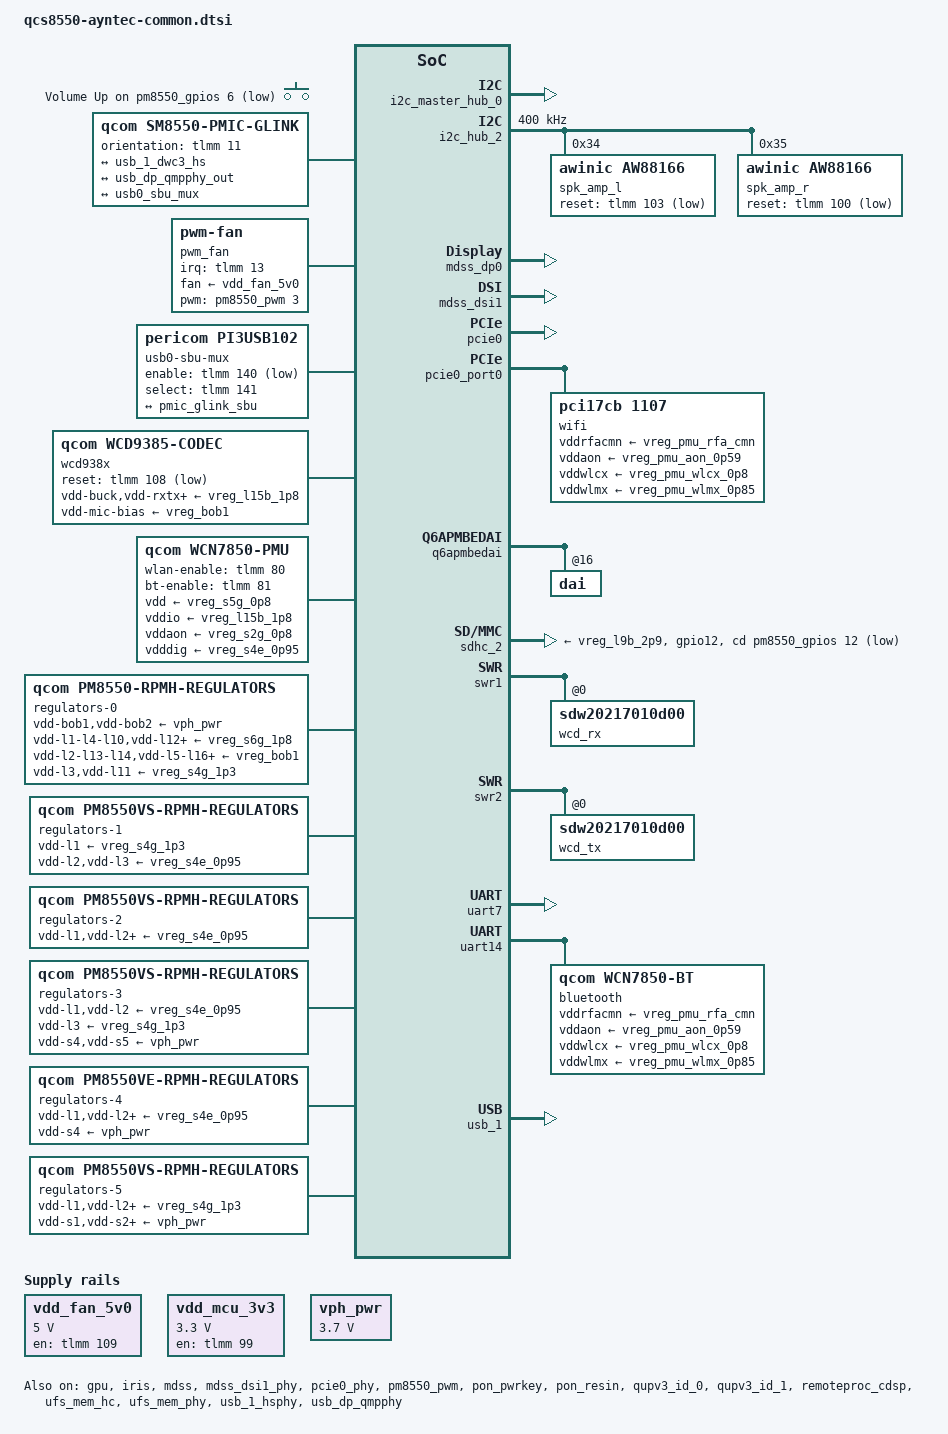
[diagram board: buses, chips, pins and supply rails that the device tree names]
// SPDX-License-Identifier: BSD-3-Clause
/*
 * Copyright (c) 2025, Teguh Sobirin.
 */

#include <dt-bindings/leds/common.h>
#include <dt-bindings/regulator/qcom,rpmh-regulator.h>
#include "qcs8550.dtsi"
#include "pm8550.dtsi"
#include "pm8550b.dtsi"
#define PMK8550VE_SID 5
#include "pm8550ve.dtsi"
#include "pm8550vs.dtsi"
#include "pmk8550.dtsi"

/delete-node/ &aop_image_mem;
/delete-node/ &aop_config_mem;
/delete-node/ &camera_mem;
/delete-node/ &ipa;
/delete-node/ &ipa_fw_mem;
/delete-node/ &ipa_gsi_mem;
/delete-node/ &mpss_dsm_mem;
/delete-node/ &mpss_mem;
/delete-node/ &q6_mpss_dtb_mem;
/delete-node/ &remoteproc_mpss;

/ {
	chassis-type = "handset";

	aliases {
		serial0 = &uart7;
		serial1 = &uart14;
	};

	/* The tzlog label is required by ABL to apply a dtbo, but it can be on any node */
	qcom_tzlog: chosen {
		stdout-path = "serial0:115200n8";
	};

	gpio_keys: gpio-keys {
		compatible = "gpio-keys";

		pinctrl-0 = <&volume_up_n>;
		pinctrl-names = "default";

		key-volume-up {
			label = "Volume Up";
			debounce-interval = <15>;
			gpios = <&pm8550_gpios 6 GPIO_ACTIVE_LOW>;
			linux,code = <KEY_VOLUMEUP>;
			linux,can-disable;
			wakeup-source;
		};
	};

	pmic-glink {
		compatible = "qcom,sm8550-pmic-glink", "qcom,pmic-glink";
		#address-cells = <1>;
		#size-cells = <0>;
		orientation-gpios = <&tlmm 11 GPIO_ACTIVE_HIGH>;

		connector@0 {
			compatible = "usb-c-connector";
			reg = <0>;
			power-role = "dual";
			data-role = "dual";

			ports {
				#address-cells = <1>;
				#size-cells = <0>;

				port@0 {
					reg = <0>;

					pmic_glink_hs_in: endpoint {
						remote-endpoint = <&usb_1_dwc3_hs>;
					};
				};

				port@1 {
					reg = <1>;

					pmic_glink_ss_in: endpoint {
						remote-endpoint = <&usb_dp_qmpphy_out>;
					};
				};

				port@2 {
					reg = <2>;

					pmic_glink_sbu: endpoint {
						remote-endpoint = <&usb0_sbu_mux>;
					};
				};
			};
		};
	};

	pwm_fan: pwm-fan {
		compatible = "pwm-fan";

		fan-supply = <&vdd_fan_5v0>;
		pwms = <&pm8550_pwm 3 50000>;

		pinctrl-0 = <&fan_pwm_active>, <&fan_int>;
		pinctrl-names = "default";

		pulses-per-revolution = <4>;
		interrupts-extended = <&tlmm 13 IRQ_TYPE_EDGE_FALLING>;

		cooling-levels = <0 40 65 75 90 100 120 150 175>;
		#cooling-cells = <2>;
	};

	reserved-memory {
		hyp_mem: hyp-region@80000000 {
			reg = <0 0x80000000 0 0xa00000>;
			no-map;
		};

		cpusys_vm_mem: cpusys-vm-region@80a00000 {
			reg = <0 0x80a00000 0 0x400000>;
			no-map;
		};

		hyp_tags_mem: hyp-tags-region@80e00000 {
			reg = <0 0x80e00000 0 0x3d0000>;
			no-map;
		};

		xbl_sc_mem: xbl-sc-region@d8100000 {
			reg = <0 0xd8100000 0 0x40000>;
			no-map;
		};

		hyp_tags_reserved_mem: hyp-tags-reserved-region@811d0000 {
			reg = <0 0x811d0000 0 0x30000>;
			no-map;
		};

		xbl_dt_log_merged_mem: xbl-dt-log-merged-region@81a00000 {
			reg = <0 0x81a00000 0 0x260000>;
			no-map;
		};

		aop_config_merged_mem: aop-config-merged-region@81c80000 {
			reg = <0 0x81c80000 0 0x74000>;
			no-map;
		};

		chipinfo_mem: chipinfo-region@81cf4000 {
			reg = <0 0x81cf4000 0 0x1000>;
			no-map;
		};

		global_sync_mem: global-sync-region@82600000 {
			reg = <0 0x82600000 0 0x100000>;
			no-map;
		};

		tz_stat_mem: tz-stat-region@82700000 {
			reg = <0 0x82700000 0 0x100000>;
			no-map;
		};

		cpucp_fw_mem: cpucp-fw-region@d8140000 {
			reg = <0 0xd8140000 0 0x1c0000>;
			no-map;
		};

		qtee_mem: qtee-region@d8300000 {
			reg = <0 0xd8300000 0 0x500000>;
			no-map;
		};

		hwfence_shbuf: hwfence-shbuf-region@e6440000 {
			reg = <0 0xe6440000 0 0x2dd000>;
			no-map;
		};

		hyp_ext_reserved_mem: hyp-ext-reserved-region@ff700000 {
			reg = <0 0xff700000 0 0x100000>;
			no-map;
		};

		llcc_lpi_mem: llcc_lpi_region@ff800000 {
			reg = <0 0xff800000 0 0x600000>;
			no-map;
		};

		hyp_ext_tags_mem: hyp-ext-tags-region@fce00000 {
			reg = <0 0xfce00000 0 0x2900000>;
			no-map;
		};
	};

	sound {
		compatible = "qcom,sm8550-sndcard", "qcom,sm8450-sndcard";
		pinctrl-0 = <&i2s0_default_state>, <&audio_mclk0_default_state>, <&lpi_i2s3_active>;
		pinctrl-names = "default";

		model = "AYN-Odin2";
		audio-routing = "IN1_HPHL", "HPHL_OUT",
				"IN2_HPHR", "HPHR_OUT",
				"AMIC2", "MIC BIAS2",
				"TX SWR_INPUT1", "ADC2_OUTPUT";

		speaker-i2s-dai-link {
			link-name = "Primary MI2S Playback";

			codec {
				sound-dai = <&spk_amp_l>, <&spk_amp_r>;
			};

			cpu {
				sound-dai = <&q6apmbedai PRIMARY_MI2S_RX>;
			};

			platform {
				sound-dai = <&q6apm>;
			};
		};

		wcd-playback-dai-link {
			link-name = "WCD Playback";

			codec {
				sound-dai = <&wcd938x 0>, <&swr1 0>, <&lpass_rxmacro 0>;
			};

			cpu {
				sound-dai = <&q6apmbedai RX_CODEC_DMA_RX_0>;
			};

			platform {
				sound-dai = <&q6apm>;
			};
		};

		wcd-capture-dai-link {
			link-name = "WCD Capture";

			codec {
				sound-dai = <&wcd938x 1>, <&swr2 0>, <&lpass_txmacro 0>;
			};

			cpu {
				sound-dai = <&q6apmbedai TX_CODEC_DMA_TX_3>;
			};

			platform {
				sound-dai = <&q6apm>;
			};
		};

		dp0-dai-link {
			link-name = "DP0 Playback";

			codec {
				sound-dai = <&mdss_dp0>;
			};

			cpu {
				sound-dai = <&q6apmbedai DISPLAY_PORT_RX_0>;
			};

			platform {
				sound-dai = <&q6apm>;
			};
		};
	};

	thermal-zones {
		cpu0-thermal {
			polling-delay = <200>;

			trips {
				cpuss0_active0: cpu-active0 {
					temperature = <50000>;
					hysteresis = <4000>;
					type = "active";
				};

				cpuss0_active1: cpu-active1 {
					temperature = <55000>;
					hysteresis = <4000>;
					type = "active";
				};

				cpuss0_active2: cpu-active2 {
					temperature = <60000>;
					hysteresis = <4000>;
					type = "active";
				};

				cpuss0_active3: cpu-active3 {
					temperature = <65000>;
					hysteresis = <4000>;
					type = "active";
				};

				cpuss0_active4: cpu-active4 {
					temperature = <70000>;
					hysteresis = <4000>;
					type = "active";
				};

				cpuss0_active5: cpu-active5 {
					temperature = <75000>;
					hysteresis = <4000>;
					type = "active";
				};

				cpuss0_active6: cpu-active6 {
					temperature = <80000>;
					hysteresis = <4000>;
					type = "active";
				};

				cpuss0_active7: cpu-active7 {
					temperature = <85000>;
					hysteresis = <4000>;
					type = "active";
				};
			};

			cooling-maps {
				map0 {
					cooling-device = <&pwm_fan 0 1>;
					trip = <&cpuss0_active0>;
				};

				map1 {
					cooling-device = <&pwm_fan 1 2>;
					trip = <&cpuss0_active1>;
				};

				map2 {
					cooling-device = <&pwm_fan 2 3>;
					trip = <&cpuss0_active2>;
				};

				map3 {
					cooling-device = <&pwm_fan 3 4>;
					trip = <&cpuss0_active3>;
				};

				map4 {
					cooling-device = <&pwm_fan 4 5>;
					trip = <&cpuss0_active4>;
				};

				map5 {
					cooling-device = <&pwm_fan 5 6>;
					trip = <&cpuss0_active5>;
				};

				map6 {
					cooling-device = <&pwm_fan 6 7>;
					trip = <&cpuss0_active6>;
				};

				map7 {
					cooling-device = <&pwm_fan 7 8>;
					trip = <&cpuss0_active7>;
				};
			};
		};

		cpu3-bottom-thermal {
			polling-delay = <200>;

			trips {
				cpuss3_active0: cpu-active0 {
					temperature = <50000>;
					hysteresis = <4000>;
					type = "active";
				};

				cpuss3_active1: cpu-active1 {
					temperature = <55000>;
					hysteresis = <4000>;
					type = "active";
				};

				cpuss3_active2: cpu-active2 {
					temperature = <60000>;
					hysteresis = <4000>;
					type = "active";
				};

				cpuss3_active3: cpu-active3 {
					temperature = <65000>;
					hysteresis = <4000>;
					type = "active";
				};

				cpuss3_active4: cpu-active4 {
					temperature = <70000>;
					hysteresis = <4000>;
					type = "active";
				};

				cpuss3_active5: cpu-active5 {
					temperature = <75000>;
					hysteresis = <4000>;
					type = "active";
				};

				cpuss3_active6: cpu-active6 {
					temperature = <80000>;
					hysteresis = <4000>;
					type = "active";
				};

				cpuss3_active7: cpu-active7 {
					temperature = <85000>;
					hysteresis = <4000>;
					type = "active";
				};
			};

			cooling-maps {
				map0 {
					cooling-device = <&pwm_fan 0 1>;
					trip = <&cpuss3_active0>;
				};

				map1 {
					cooling-device = <&pwm_fan 1 2>;
					trip = <&cpuss3_active1>;
				};

				map2 {
					cooling-device = <&pwm_fan 2 3>;
					trip = <&cpuss3_active2>;
				};

				map3 {
					cooling-device = <&pwm_fan 3 4>;
					trip = <&cpuss3_active3>;
				};

				map4 {
					cooling-device = <&pwm_fan 4 5>;
					trip = <&cpuss3_active4>;
				};

				map5 {
					cooling-device = <&pwm_fan 5 6>;
					trip = <&cpuss3_active5>;
				};

				map6 {
					cooling-device = <&pwm_fan 6 7>;
					trip = <&cpuss3_active6>;
				};

				map7 {
					cooling-device = <&pwm_fan 7 8>;
					trip = <&cpuss3_active7>;
				};
			};
		};

		cpu7-bottom-thermal {
			polling-delay = <200>;

			trips {
				cpuss7_active0: cpu-active0 {
					temperature = <50000>;
					hysteresis = <4000>;
					type = "active";
				};

				cpuss7_active1: cpu-active1 {
					temperature = <55000>;
					hysteresis = <4000>;
					type = "active";
				};

				cpuss7_active2: cpu-active2 {
					temperature = <60000>;
					hysteresis = <4000>;
					type = "active";
				};

				cpuss7_active3: cpu-active3 {
					temperature = <65000>;
					hysteresis = <4000>;
					type = "active";
				};

				cpuss7_active4: cpu-active4 {
					temperature = <70000>;
					hysteresis = <4000>;
					type = "active";
				};

				cpuss7_active5: cpu-active5 {
					temperature = <75000>;
					hysteresis = <4000>;
					type = "active";
				};

				cpuss7_active6: cpu-active6 {
					temperature = <80000>;
					hysteresis = <4000>;
					type = "active";
				};

				cpuss7_active7: cpu-active7 {
					temperature = <85000>;
					hysteresis = <4000>;
					type = "active";
				};
			};

			cooling-maps {
				map0 {
					cooling-device = <&pwm_fan 0 1>;
					trip = <&cpuss7_active0>;
				};

				map1 {
					cooling-device = <&pwm_fan 1 2>;
					trip = <&cpuss7_active1>;
				};

				map2 {
					cooling-device = <&pwm_fan 2 3>;
					trip = <&cpuss7_active2>;
				};

				map3 {
					cooling-device = <&pwm_fan 3 4>;
					trip = <&cpuss7_active3>;
				};

				map4 {
					cooling-device = <&pwm_fan 4 5>;
					trip = <&cpuss7_active4>;
				};

				map5 {
					cooling-device = <&pwm_fan 5 6>;
					trip = <&cpuss7_active5>;
				};

				map6 {
					cooling-device = <&pwm_fan 6 7>;
					trip = <&cpuss7_active6>;
				};

				map7 {
					cooling-device = <&pwm_fan 7 8>;
					trip = <&cpuss7_active7>;
				};
			};
		};

		gpuss-0-thermal {
			polling-delay = <200>;

			trips {
				gpuss0_active0: gpu-active0 {
					temperature = <50000>;
					hysteresis = <4000>;
					type = "active";
				};

				gpuss0_active1: gpu-active1 {
					temperature = <55000>;
					hysteresis = <4000>;
					type = "active";
				};

				gpuss0_active2: gpu-active2 {
					temperature = <60000>;
					hysteresis = <4000>;
					type = "active";
				};

				gpuss0_active3: gpu-active3 {
					temperature = <65000>;
					hysteresis = <4000>;
					type = "active";
				};

				gpuss0_active4: gpu-active4 {
					temperature = <70000>;
					hysteresis = <4000>;
					type = "active";
				};

				gpuss0_active5: gpu-active5 {
					temperature = <75000>;
					hysteresis = <4000>;
					type = "active";
				};

				gpuss0_active6: gpu-active6 {
					temperature = <80000>;
					hysteresis = <4000>;
					type = "active";
				};

				gpuss0_active7: gpu-active7 {
					temperature = <85000>;
					hysteresis = <4000>;
					type = "active";
				};
			};

			cooling-maps {
				map0 {
					cooling-device = <&pwm_fan 0 1>;
					trip = <&gpuss0_active0>;
				};

				map1 {
					cooling-device = <&pwm_fan 1 2>;
					trip = <&gpuss0_active1>;
				};

				map2 {
					cooling-device = <&pwm_fan 2 3>;
					trip = <&gpuss0_active2>;
				};

				map3 {
					cooling-device = <&pwm_fan 3 4>;
					trip = <&gpuss0_active3>;
				};

				map4 {
					cooling-device = <&pwm_fan 4 5>;
					trip = <&gpuss0_active4>;
				};

				map5 {
					cooling-device = <&pwm_fan 5 6>;
					trip = <&gpuss0_active5>;
				};

				map6 {
					cooling-device = <&pwm_fan 6 7>;
					trip = <&gpuss0_active6>;
				};

				map7 {
					cooling-device = <&pwm_fan 7 8>;
					trip = <&gpuss0_active7>;
				};
			};
		};
	};

	usb0-sbu-mux {
		compatible = "pericom,pi3usb102", "gpio-sbu-mux";

		enable-gpios = <&tlmm 140 GPIO_ACTIVE_LOW>;
		select-gpios = <&tlmm 141 GPIO_ACTIVE_HIGH>;

		pinctrl-0 = <&usb0_sbu_default>;
		pinctrl-names = "default";

		mode-switch;
		orientation-switch;

		port {
			usb0_sbu_mux: endpoint {
				remote-endpoint = <&pmic_glink_sbu>;
			};
		};
	};

	vdd_fan_5v0: vdd-fan-5v0-regulator {
		compatible = "regulator-fixed";
		regulator-name = "vdd_fan_5v0";

		regulator-min-microvolt = <5000000>;
		regulator-max-microvolt = <5000000>;

		gpio = <&tlmm 109 GPIO_ACTIVE_HIGH>;
		enable-active-high;

		pinctrl-0 = <&fan_pwr_active>;
		pinctrl-names = "default";

		regulator-state-mem {
			regulator-off-in-suspend;
		};
	};

	vdd_mcu_3v3: vdd-mcu-3v3-regulator {
		compatible = "regulator-fixed";
		regulator-name = "vdd_mcu_3v3";

		regulator-min-microvolt = <3300000>;
		regulator-max-microvolt = <3300000>;

		gpio = <&tlmm 99 GPIO_ACTIVE_HIGH>;
		regulator-always-on;
		regulator-boot-on;
		enable-active-high;
	};

	vph_pwr: regulator-vph-pwr {
		compatible = "regulator-fixed";
		regulator-name = "vph_pwr";
		regulator-min-microvolt = <3700000>;
		regulator-max-microvolt = <3700000>;

		regulator-always-on;
		regulator-boot-on;
	};

	wcd938x: audio-codec {
		compatible = "qcom,wcd9385-codec";

		pinctrl-0 = <&wcd_default>;
		pinctrl-names = "default";

		qcom,micbias1-microvolt = <1800000>;
		qcom,micbias2-microvolt = <1800000>;
		qcom,micbias3-microvolt = <1800000>;
		qcom,micbias4-microvolt = <1800000>;
		qcom,mbhc-buttons-vthreshold-microvolt = <75000 150000 237000 500000
							 500000 500000 500000 500000>;
		qcom,mbhc-headset-vthreshold-microvolt = <1700000>;
		qcom,mbhc-headphone-vthreshold-microvolt = <50000>;
		qcom,rx-device = <&wcd_rx>;
		qcom,tx-device = <&wcd_tx>;

		reset-gpios = <&tlmm 108 GPIO_ACTIVE_LOW>;

		vdd-buck-supply = <&vreg_l15b_1p8>;
		vdd-rxtx-supply = <&vreg_l15b_1p8>;
		vdd-io-supply = <&vreg_l15b_1p8>;
		vdd-mic-bias-supply = <&vreg_bob1>;

		#sound-dai-cells = <1>;
	};

	wcn7850-pmu {
		compatible = "qcom,wcn7850-pmu";

		pinctrl-0 = <&wlan_en>, <&bt_default>, <&pmk8550_sleep_clk>;
		pinctrl-names = "default";

		wlan-enable-gpios = <&tlmm 80 GPIO_ACTIVE_HIGH>;
		bt-enable-gpios = <&tlmm 81 GPIO_ACTIVE_HIGH>;

		vdd-supply = <&vreg_s5g_0p8>;
		vddio-supply = <&vreg_l15b_1p8>;
		vddaon-supply = <&vreg_s2g_0p8>;
		vdddig-supply = <&vreg_s4e_0p95>;
		vddrfa1p2-supply = <&vreg_s4g_1p3>;
		vddrfa1p8-supply = <&vreg_s6g_1p8>;

		regulators {
			vreg_pmu_rfa_cmn: ldo0 {
				regulator-name = "vreg_pmu_rfa_cmn";
			};

			vreg_pmu_aon_0p59: ldo1 {
				regulator-name = "vreg_pmu_aon_0p59";
			};

			vreg_pmu_wlcx_0p8: ldo2 {
				regulator-name = "vreg_pmu_wlcx_0p8";
			};

			vreg_pmu_wlmx_0p85: ldo3 {
				regulator-name = "vreg_pmu_wlmx_0p85";
			};

			vreg_pmu_btcmx_0p85: ldo4 {
				regulator-name = "vreg_pmu_btcmx_0p85";
			};

			vreg_pmu_rfa_0p8: ldo5 {
				regulator-name = "vreg_pmu_rfa_0p8";
			};

			vreg_pmu_rfa_1p2: ldo6 {
				regulator-name = "vreg_pmu_rfa_1p2";
			};

			vreg_pmu_rfa_1p8: ldo7 {
				regulator-name = "vreg_pmu_rfa_1p8";
			};

			vreg_pmu_pcie_0p9: ldo8 {
				regulator-name = "vreg_pmu_pcie_0p9";
			};

			vreg_pmu_pcie_1p8: ldo9 {
				regulator-name = "vreg_pmu_pcie_1p8";
			};
		};
	};

	/* The arch_timer label is unused here, but is required by ABL to apply a dtbo */
	arch_timer: timer { };
};

&apps_rsc {
	regulators-0 {
		compatible = "qcom,pm8550-rpmh-regulators";
		qcom,pmic-id = "b";

		vdd-bob1-supply = <&vph_pwr>;
		vdd-bob2-supply = <&vph_pwr>;
		vdd-l1-l4-l10-supply = <&vreg_s6g_1p8>;
		vdd-l2-l13-l14-supply = <&vreg_bob1>;
		vdd-l3-supply = <&vreg_s4g_1p3>;
		vdd-l5-l16-supply = <&vreg_bob1>;
		vdd-l6-l7-supply = <&vreg_bob1>;
		vdd-l8-l9-supply = <&vreg_bob1>;
		vdd-l11-supply = <&vreg_s4g_1p3>;
		vdd-l12-supply = <&vreg_s6g_1p8>;
		vdd-l15-supply = <&vreg_s6g_1p8>;
		vdd-l17-supply = <&vreg_bob2>;

		vreg_bob1: bob1 {
			regulator-name = "vreg_bob1";
			regulator-min-microvolt = <3296000>;
			regulator-max-microvolt = <3960000>;
			regulator-initial-mode = <RPMH_REGULATOR_MODE_HPM>;
		};

		vreg_bob2: bob2 {
			regulator-name = "vreg_bob2";
			regulator-min-microvolt = <2720000>;
			regulator-max-microvolt = <3960000>;
			regulator-initial-mode = <RPMH_REGULATOR_MODE_HPM>;
		};

		vreg_l2b_3p0: ldo2 {
			regulator-name = "vreg_l2b_3p0";
			regulator-min-microvolt = <3008000>;
			regulator-max-microvolt = <3008000>;
			regulator-initial-mode = <RPMH_REGULATOR_MODE_HPM>;
			regulator-allow-set-load;
			regulator-allowed-modes = <RPMH_REGULATOR_MODE_LPM
						   RPMH_REGULATOR_MODE_HPM>;
		};

		vreg_l5b_3p1: ldo5 {
			regulator-name = "vreg_l5b_3p1";
			regulator-min-microvolt = <3104000>;
			regulator-max-microvolt = <3104000>;
			regulator-initial-mode = <RPMH_REGULATOR_MODE_HPM>;
			regulator-allow-set-load;
			regulator-allowed-modes = <RPMH_REGULATOR_MODE_LPM
						   RPMH_REGULATOR_MODE_HPM>;
		};

		vreg_l6b_1p8: ldo6 {
			regulator-name = "vreg_l6b_1p8";
			regulator-min-microvolt = <1800000>;
			regulator-max-microvolt = <3008000>;
			regulator-initial-mode = <RPMH_REGULATOR_MODE_HPM>;
			regulator-allow-set-load;
			regulator-allowed-modes = <RPMH_REGULATOR_MODE_LPM
						   RPMH_REGULATOR_MODE_HPM>;
		};

		vreg_l7b_1p8: ldo7 {
			regulator-name = "vreg_l7b_1p8";
			regulator-min-microvolt = <1800000>;
			regulator-max-microvolt = <3008000>;
			regulator-initial-mode = <RPMH_REGULATOR_MODE_HPM>;
		};

		vreg_l8b_1p8: ldo8 {
			regulator-name = "vreg_l8b_1p8";
			regulator-min-microvolt = <1800000>;
			regulator-max-microvolt = <3008000>;
			regulator-initial-mode = <RPMH_REGULATOR_MODE_HPM>;
			regulator-allow-set-load;
			regulator-allowed-modes = <RPMH_REGULATOR_MODE_LPM
						   RPMH_REGULATOR_MODE_HPM>;
		};

		vreg_l9b_2p9: ldo9 {
			regulator-name = "vreg_l9b_2p9";
			regulator-min-microvolt = <2960000>;
			regulator-max-microvolt = <3008000>;
			regulator-initial-mode = <RPMH_REGULATOR_MODE_HPM>;
			regulator-allow-set-load;
			regulator-allowed-modes = <RPMH_REGULATOR_MODE_LPM
						   RPMH_REGULATOR_MODE_HPM>;
		};

		vreg_l11b_1p2: ldo11 {
			regulator-name = "vreg_l11b_1p2";
			regulator-min-microvolt = <1200000>;
			regulator-max-microvolt = <1504000>;
			regulator-initial-mode = <RPMH_REGULATOR_MODE_HPM>;
			regulator-allow-set-load;
			regulator-allowed-modes = <RPMH_REGULATOR_MODE_LPM
						   RPMH_REGULATOR_MODE_HPM>;
		};

		vreg_l12b_1p8: ldo12 {
			regulator-name = "vreg_l12b_1p8";
			regulator-min-microvolt = <1800000>;
			regulator-max-microvolt = <1800000>;
			regulator-initial-mode = <RPMH_REGULATOR_MODE_HPM>;
			regulator-allow-set-load;
			regulator-allowed-modes = <RPMH_REGULATOR_MODE_LPM
						   RPMH_REGULATOR_MODE_HPM>;
		};

		vreg_l13b_3p0: ldo13 {
			regulator-name = "vreg_l13b_3p0";
			regulator-min-microvolt = <3000000>;
			regulator-max-microvolt = <3000000>;
			regulator-initial-mode = <RPMH_REGULATOR_MODE_HPM>;
			regulator-allow-set-load;
			regulator-allowed-modes = <RPMH_REGULATOR_MODE_LPM
						   RPMH_REGULATOR_MODE_HPM>;
		};

		vreg_l14b_3p2: ldo14 {
			regulator-name = "vreg_l14b_3p2";
			regulator-min-microvolt = <3200000>;
			regulator-max-microvolt = <3200000>;
			regulator-initial-mode = <RPMH_REGULATOR_MODE_HPM>;
			regulator-allow-set-load;
			regulator-allowed-modes = <RPMH_REGULATOR_MODE_LPM
						   RPMH_REGULATOR_MODE_HPM>;
		};

		vreg_l15b_1p8: ldo15 {
			regulator-name = "vreg_l15b_1p8";
			regulator-min-microvolt = <1800000>;
			regulator-max-microvolt = <1800000>;
			regulator-initial-mode = <RPMH_REGULATOR_MODE_HPM>;
			regulator-allow-set-load;
			regulator-allowed-modes = <RPMH_REGULATOR_MODE_LPM
						   RPMH_REGULATOR_MODE_HPM>;
		};

		vreg_l16b_2p8: ldo16 {
			regulator-name = "vreg_l16b_2p8";
			regulator-min-microvolt = <2800000>;
			regulator-max-microvolt = <2800000>;
			regulator-initial-mode = <RPMH_REGULATOR_MODE_HPM>;
			regulator-allow-set-load;
			regulator-allowed-modes = <RPMH_REGULATOR_MODE_LPM
						   RPMH_REGULATOR_MODE_HPM>;
		};

		vreg_l17b_2p5: ldo17 {
			regulator-name = "vreg_l17b_2p5";
			regulator-min-microvolt = <2504000>;
			regulator-max-microvolt = <2504000>;
			regulator-initial-mode = <RPMH_REGULATOR_MODE_HPM>;
			regulator-allow-set-load;
			regulator-allowed-modes = <RPMH_REGULATOR_MODE_LPM
						   RPMH_REGULATOR_MODE_HPM>;
		};
	};

	regulators-1 {
		compatible = "qcom,pm8550vs-rpmh-regulators";
		qcom,pmic-id = "c";

		vdd-l1-supply = <&vreg_s4g_1p3>;
		vdd-l2-supply = <&vreg_s4e_0p95>;
		vdd-l3-supply = <&vreg_s4e_0p95>;

		vreg_l3c_0p9: ldo3 {
			regulator-name = "vreg_l3c_0p9";
			regulator-min-microvolt = <880000>;
			regulator-max-microvolt = <912000>;
			regulator-initial-mode = <RPMH_REGULATOR_MODE_HPM>;
			regulator-allow-set-load;
			regulator-allowed-modes = <RPMH_REGULATOR_MODE_LPM
						   RPMH_REGULATOR_MODE_HPM>;
		};
	};

	regulators-2 {
		compatible = "qcom,pm8550vs-rpmh-regulators";
		qcom,pmic-id = "d";

		vdd-l1-supply = <&vreg_s4e_0p95>;
		vdd-l2-supply = <&vreg_s4e_0p95>;
		vdd-l3-supply = <&vreg_s4e_0p95>;

		vreg_l1d_0p88: ldo1 {
			regulator-name = "vreg_l1d_0p88";
			regulator-min-microvolt = <880000>;
			regulator-max-microvolt = <920000>;
			regulator-initial-mode = <RPMH_REGULATOR_MODE_HPM>;
			regulator-allow-set-load;
			regulator-allowed-modes = <RPMH_REGULATOR_MODE_LPM
						   RPMH_REGULATOR_MODE_HPM>;
		};
	};

	regulators-3 {
		compatible = "qcom,pm8550vs-rpmh-regulators";
		qcom,pmic-id = "e";

		vdd-l1-supply = <&vreg_s4e_0p95>;
		vdd-l2-supply = <&vreg_s4e_0p95>;
		vdd-l3-supply = <&vreg_s4g_1p3>;
		vdd-s4-supply = <&vph_pwr>;
		vdd-s5-supply = <&vph_pwr>;

		vreg_s4e_0p95: smps4 {
			regulator-name = "vreg_s4e_0p95";
			regulator-min-microvolt = <904000>;
			regulator-max-microvolt = <984000>;
			regulator-initial-mode = <RPMH_REGULATOR_MODE_HPM>;
		};

		vreg_s5e_1p08: smps5 {
			regulator-name = "vreg_s5e_1p08";
			regulator-min-microvolt = <1010000>;
			regulator-max-microvolt = <1120000>;
			regulator-initial-mode = <RPMH_REGULATOR_MODE_HPM>;
		};

		vreg_l1e_0p88: ldo1 {
			regulator-name = "vreg_l1e_0p88";
			regulator-min-microvolt = <880000>;
			regulator-max-microvolt = <912000>;
			regulator-initial-mode = <RPMH_REGULATOR_MODE_HPM>;
			regulator-allow-set-load;
			regulator-allowed-modes = <RPMH_REGULATOR_MODE_LPM
						   RPMH_REGULATOR_MODE_HPM>;
		};

		vreg_l2e_0p9: ldo2 {
			regulator-name = "vreg_l2e_0p9";
			regulator-min-microvolt = <870000>;
			regulator-max-microvolt = <970000>;
			regulator-initial-mode = <RPMH_REGULATOR_MODE_HPM>;
			regulator-allow-set-load;
			regulator-allowed-modes = <RPMH_REGULATOR_MODE_LPM
						   RPMH_REGULATOR_MODE_HPM>;
		};

		vreg_l3e_1p2: ldo3 {
			regulator-name = "vreg_l3e_1p2";
			regulator-min-microvolt = <1200000>;
			regulator-max-microvolt = <1200000>;
			regulator-initial-mode = <RPMH_REGULATOR_MODE_HPM>;
			regulator-allow-set-load;
			regulator-allowed-modes = <RPMH_REGULATOR_MODE_LPM
						   RPMH_REGULATOR_MODE_HPM>;
		};
	};

	regulators-4 {
		compatible = "qcom,pm8550ve-rpmh-regulators";
		qcom,pmic-id = "f";

		vdd-l1-supply = <&vreg_s4e_0p95>;
		vdd-l2-supply = <&vreg_s4e_0p95>;
		vdd-l3-supply = <&vreg_s4e_0p95>;
		vdd-s4-supply = <&vph_pwr>;

		vreg_s4f_0p5: smps4 {
			regulator-name = "vreg_s4f_0p5";
			regulator-min-microvolt = <300000>;
			regulator-max-microvolt = <700000>;
			regulator-initial-mode = <RPMH_REGULATOR_MODE_HPM>;
		};

		vreg_l1f_0p9: ldo1 {
			regulator-name = "vreg_l1f_0p9";
			regulator-min-microvolt = <880000>;
			regulator-max-microvolt = <912000>;
			regulator-initial-mode = <RPMH_REGULATOR_MODE_HPM>;
			regulator-allow-set-load;
			regulator-allowed-modes = <RPMH_REGULATOR_MODE_LPM
						   RPMH_REGULATOR_MODE_HPM>;
		};

		vreg_l2f_0p88: ldo2 {
			regulator-name = "vreg_l2f_0p88";
			regulator-min-microvolt = <880000>;
			regulator-max-microvolt = <912000>;
			regulator-initial-mode = <RPMH_REGULATOR_MODE_HPM>;
			regulator-allow-set-load;
			regulator-allowed-modes = <RPMH_REGULATOR_MODE_LPM
						   RPMH_REGULATOR_MODE_HPM>;
		};

		vreg_l3f_0p88: ldo3 {
			regulator-name = "vreg_l3f_0p88";
			regulator-min-microvolt = <880000>;
			regulator-max-microvolt = <912000>;
			regulator-initial-mode = <RPMH_REGULATOR_MODE_HPM>;
			regulator-allow-set-load;
			regulator-allowed-modes = <RPMH_REGULATOR_MODE_LPM
						   RPMH_REGULATOR_MODE_HPM>;
		};
	};

	regulators-5 {
		compatible = "qcom,pm8550vs-rpmh-regulators";
		qcom,pmic-id = "g";

		vdd-l1-supply = <&vreg_s4g_1p3>;
		vdd-l2-supply = <&vreg_s4g_1p3>;
		vdd-l3-supply = <&vreg_s4g_1p3>;
		vdd-s1-supply = <&vph_pwr>;
		vdd-s2-supply = <&vph_pwr>;
		vdd-s3-supply = <&vph_pwr>;
		vdd-s4-supply = <&vph_pwr>;
		vdd-s5-supply = <&vph_pwr>;
		vdd-s6-supply = <&vph_pwr>;

		vreg_s1g_1p2: smps1 {
			regulator-name = "vreg_s1g_1p2";
			regulator-min-microvolt = <1200000>;
			regulator-max-microvolt = <1300000>;
			regulator-initial-mode = <RPMH_REGULATOR_MODE_HPM>;
		};

		vreg_s2g_0p8: smps2 {
			regulator-name = "vreg_s2g_0p8";
			regulator-min-microvolt = <800000>;
			regulator-max-microvolt = <1000000>;
			regulator-initial-mode = <RPMH_REGULATOR_MODE_HPM>;
		};

		vreg_s3g_0p7: smps3 {
			regulator-name = "vreg_s3g_0p7";
			regulator-min-microvolt = <300000>;
			regulator-max-microvolt = <1004000>;
			regulator-initial-mode = <RPMH_REGULATOR_MODE_HPM>;
		};

		vreg_s4g_1p3: smps4 {
			regulator-name = "vreg_s4g_1p3";
			regulator-min-microvolt = <1200000>;
			regulator-max-microvolt = <1352000>;
			regulator-initial-mode = <RPMH_REGULATOR_MODE_HPM>;
		};

		vreg_s5g_0p8: smps5 {
			regulator-name = "vreg_s5g_0p8";
			regulator-min-microvolt = <500000>;
			regulator-max-microvolt = <1004000>;
			regulator-initial-mode = <RPMH_REGULATOR_MODE_HPM>;
		};

		vreg_s6g_1p8: smps6 {
			regulator-name = "vreg_s6g_1p8";
			regulator-min-microvolt = <1800000>;
			regulator-max-microvolt = <2000000>;
			regulator-initial-mode = <RPMH_REGULATOR_MODE_HPM>;
		};

		vreg_l1g_1p2: ldo1 {
			regulator-name = "vreg_l1g_1p2";
			regulator-min-microvolt = <1200000>;
			regulator-max-microvolt = <1200000>;
			regulator-initial-mode = <RPMH_REGULATOR_MODE_HPM>;
			regulator-allow-set-load;
			regulator-allowed-modes = <RPMH_REGULATOR_MODE_LPM
						   RPMH_REGULATOR_MODE_HPM>;
		};

		vreg_l3g_1p2: ldo3 {
			regulator-name = "vreg_l3g_1p2";
			regulator-min-microvolt = <1200000>;
			regulator-max-microvolt = <1200000>;
			regulator-initial-mode = <RPMH_REGULATOR_MODE_HPM>;
			regulator-allow-set-load;
			regulator-allowed-modes = <RPMH_REGULATOR_MODE_LPM
						   RPMH_REGULATOR_MODE_HPM>;
		};
	};
};

&gpi_dma1 {
	status = "okay";
};

&gpi_dma2 {
	status = "okay";
};

&gpu {
	status = "okay";
};

&gpu_zap_shader {
	firmware-name = "qcom/sm8550/a740_zap.mbn";
};

&i2c_master_hub_0 {
	status = "okay";
};

&i2c_hub_2 {
	clock-frequency = <400000>;

	status = "okay";

	spk_amp_l: amplifier@34 {
		compatible = "awinic,aw88166";
		reg = <0x34>;
		reset-gpios = <&tlmm 103 GPIO_ACTIVE_LOW>;
		sound-name-prefix = "Amplifier L";

		awinic,audio-channel = <0>;
		awinic,sync-flag;

		#sound-dai-cells = <0>;
	};

	spk_amp_r: amplifier@35 {
		compatible = "awinic,aw88166";
		reg = <0x35>;
		reset-gpios = <&tlmm 100 GPIO_ACTIVE_LOW>;
		sound-name-prefix = "Amplifier R";

		awinic,audio-channel = <1>;
		awinic,sync-flag;

		#sound-dai-cells = <0>;
	};
};

&iris {
	status = "okay";
};

&lpass_tlmm {
	lpi_i2s3_active: lpi_i2s3-active-state {
		sck-pins {
			pins = "gpio12";
			function = "i2s3_clk";
			drive-strength = <8>;
			bias-disable;
			output-high;
		};

		ws-pins {
			pins = "gpio13";
			function = "i2s3_ws";
			drive-strength = <8>;
			bias-disable;
			output-high;
		};

		data0-pins {
			pins = "gpio17";
			function = "i2s3_data";
			drive-strength = <8>;
			bias-disable;
			output-high;
		};

		data1-pins {
			pins = "gpio18";
			function = "i2s3_data";
			drive-strength = <8>;
			bias-disable;
			output-high;
		};
	};
};

&lpass_vamacro {
	qcom,dmic-sample-rate = <4800000>;
};

&lpass_wsamacro {
	status = "disabled";
};

&mdss {
	status = "okay";
};

&mdss_dp0 {
	status = "okay";
};

&mdss_dsi1 {
	vdda-supply = <&vreg_l3e_1p2>;

	status = "okay";

	display_panel: panel@0 {
		reg = <0>;

		port {
			panel1_in: endpoint {
				remote-endpoint = <&mdss_dsi1_out>;
			};
		};
	};
};

&mdss_dsi1_out {
	remote-endpoint = <&panel1_in>;
	data-lanes = <0 1 2 3>;
};

&mdss_dsi1_phy {
	vdds-supply = <&vreg_l1e_0p88>;

	status = "okay";
};

&pcie0 {
	perst-gpios = <&tlmm 94 GPIO_ACTIVE_LOW>;
	wake-gpios = <&tlmm 96 GPIO_ACTIVE_HIGH>;

	pinctrl-0 = <&pcie0_default_state>;
	pinctrl-names = "default";

	status = "okay";
};

&pcie0_port0 {
	wifi@0 {
		compatible = "pci17cb,1107";
		reg = <0x10000 0x0 0x0 0x0 0x0>;

		vddrfacmn-supply = <&vreg_pmu_rfa_cmn>;
		vddaon-supply = <&vreg_pmu_aon_0p59>;
		vddwlcx-supply = <&vreg_pmu_wlcx_0p8>;
		vddwlmx-supply = <&vreg_pmu_wlmx_0p85>;
		vddrfa0p8-supply = <&vreg_pmu_rfa_0p8>;
		vddrfa1p2-supply = <&vreg_pmu_rfa_1p2>;
		vddrfa1p8-supply = <&vreg_pmu_rfa_1p8>;
		vddpcie0p9-supply = <&vreg_pmu_pcie_0p9>;
		vddpcie1p8-supply = <&vreg_pmu_pcie_1p8>;
	};
};

&pcie0_phy {
	vdda-phy-supply = <&vreg_l1e_0p88>;
	vdda-pll-supply = <&vreg_l3e_1p2>;

	status = "okay";
};

&pm8550_gpios {
	fan_pwm_active: fan-pwm-active-state {
		pins = "gpio8";
		function = "func1";
		input-disable;
		output-enable;
		output-low;
		bias-disable;
		power-source = <1>;
	};

	sdc2_card_det_n: sdc2-card-det-n-state {
		pins = "gpio12";
		function = "normal";
		input-enable;
		output-disable;
		bias-pull-up;
		power-source = <1>;
	};

	volume_up_n: volume-up-n-state {
		pins = "gpio6";
		function = "normal";
		power-source = <1>;
		bias-pull-up;
		input-enable;
	};
};

&pm8550_pwm {
	status = "okay";

	pm8550_multi_led: multi-led {
		color = <LED_COLOR_ID_RGB>;
		function = LED_FUNCTION_STATUS;

		#address-cells = <1>;
		#size-cells = <0>;

		led@1 {
			reg = <1>;
			color = <LED_COLOR_ID_RED>;
		};

		led@2 {
			reg = <2>;
			color = <LED_COLOR_ID_GREEN>;
		};

		led@3 {
			reg = <3>;
			color = <LED_COLOR_ID_BLUE>;
		};
	};
};

&pm8550b_eusb2_repeater {
	qcom,tune-usb2-disc-thres = /bits/ 8 <0x6>;
	qcom,tune-usb2-amplitude = /bits/ 8 <0xb>;
	qcom,tune-usb2-preem = /bits/ 8 <0x3>;
	vdd18-supply = <&vreg_l15b_1p8>;
	vdd3-supply = <&vreg_l5b_3p1>;
};

&pmk8550_gpios {
	pmk8550_sleep_clk: sleep-clk-state {
		pins = "gpio3";
		function = "func1";
		input-disable;
		output-enable;
		bias-disable;
		power-source = <0>;
	};

	pwm_backlight_default: pwm-backlight-default-state {
		pins = "gpio5";
		function = "func3";
		input-disable;
		output-low;
		output-enable;
		bias-disable;
		power-source = <0>;
		qcom,drive-strength = <2>;
	};
};

&pmk8550_rtc {
	nvmem-cells = <&rtc_offset>;
	nvmem-cell-names = "offset";
};

&pmk8550_sdam_2 {
	rtc_offset: rtc-offset@bc {
		reg = <0xbc 0x4>;
	};
};

&pon_pwrkey {
	status = "okay";
};

&pon_resin {
	linux,code = <KEY_VOLUMEDOWN>;

	status = "okay";
};

&q6apmbedai {
	#address-cells = <1>;
	#size-cells = <0>;

	dai@16 {
		reg = <PRIMARY_MI2S_RX>;
		clocks = <&q6prmcc LPASS_CLK_ID_PRI_MI2S_IBIT
				   LPASS_CLK_ATTRIBUTE_COUPLE_NO>,
			 <&q6prmcc LPASS_CLK_ID_MCLK_1
				   LPASS_CLK_ATTRIBUTE_COUPLE_NO>;
		clock-names = "bclk", "mclk";
	};
};

&qupv3_id_0 {
	status = "okay";
};

&qupv3_id_1 {
	status = "okay";
};

&remoteproc_cdsp {
	firmware-name = "qcom/sm8550/ayntec/cdsp.mbn",
			"qcom/sm8550/ayntec/cdsp_dtb.mbn";

	status = "okay";
};

&sdhc_2 {
	cd-gpios = <&pm8550_gpios 12 GPIO_ACTIVE_LOW>;
	pinctrl-0 = <&sdc2_default &sdc2_card_det_n>;
	pinctrl-1 = <&sdc2_sleep &sdc2_card_det_n>;
	pinctrl-names = "default", "sleep";
	vmmc-supply = <&vreg_l9b_2p9>;
	vqmmc-supply = <&vreg_l8b_1p8>;
	no-sdio;
	no-mmc;

	status = "okay";
};

&sleep_clk {
	clock-frequency = <32764>;
};

&swr1 {
	status = "okay";

	wcd_rx: codec@0,4 {
		compatible = "sdw20217010d00";
		reg = <0 4>;
		qcom,rx-port-mapping = <1 2 3 4 5>;
	};
};

&swr2 {
	status = "okay";

	wcd_tx: codec@0,3 {
		compatible = "sdw20217010d00";
		reg = <0 3>;
		qcom,tx-port-mapping = <2 2 3 4>;
	};
};

&tlmm {
	gpio-reserved-ranges = <32 8>;

	mcu_en_active: mcu-en-active-state {
		pins = "gpio12";
		function = "gpio";
		bias-pull-down;
	};

	fan_int: fan-int-state {
		pins = "gpio13";
		function = "gpio";
		drive-strength = <2>;
		bias-disable;
	};

	ts_s_rst_default: ts-s-rst-default-state {
		pins = "gpio14";
		function = "gpio";
		bias-pull-up;
		drive-strength = <8>;
	};

	ts_s_rst_sleep: ts-s-rst-sleep-state {
		pins = "gpio14";
		function = "gpio";
		bias-pull-down;
		drive-strength = <2>;
	};

	ts_s_int_default: ts-s-int-default-state {
		pins = "gpio15";
		function = "gpio";
		bias-pull-up;
		drive-strength = <8>;
	};

	ts_s_int_sleep: ts-s-int-sleep-state {
		pins = "gpio15";
		function = "gpio";
		bias-pull-down;
		drive-strength = <2>;
	};

	ts_p_rst_default: ts-p-rst-default-state {
		pins = "gpio24";
		function = "gpio";
		bias-pull-up;
		drive-strength = <8>;
	};

	ts_p_rst_sleep: ts-p-rst-sleep-state {
		pins = "gpio24";
		function = "gpio";
		bias-pull-down;
		drive-strength = <2>;
	};

	ts_p_int_default: ts-p-int-default-state {
		pins = "gpio25";
		function = "gpio";
		bias-pull-up;
		drive-strength = <8>;
	};

	ts_p_int_sleep: ts-p-int-sleep-state {
		pins = "gpio25";
		function = "gpio";
		bias-pull-down;
		drive-strength = <2>;
	};

	wlan_en: wlan-en-state {
		pins = "gpio80";
		function = "gpio";
		drive-strength = <8>;
		bias-pull-down;
	};

	bt_default: bt-default-state {
		bt-en-pins {
			pins = "gpio81";
			function = "gpio";
			drive-strength = <16>;
			bias-disable;
		};

		sw-ctrl-pins {
			pins = "gpio82";
			function = "gpio";
			bias-pull-down;
		};
	};

	dsi_p_te_active: dsi-p-te-active-state {
		pins = "gpio86";
		function = "mdp_vsync";
		drive-strength = <2>;
		bias-pull-down;
	};

	dsi_p_te_suspend: dsi-s-te-suspend-state {
		pins = "gpio86";
		function = "mdp_vsync";
		drive-strength = <2>;
		bias-pull-down;
	};

	dsi_s_te_active: dsi-s-te-active-state {
		pins = "gpio87";
		function = "mdp_vsync";
		drive-strength = <2>;
		bias-pull-down;
	};

	dsi_s_te_suspend: dsi-s-te-suspend-state {
		pins = "gpio87";
		function = "mdp_vsync";
		drive-strength = <2>;
		bias-pull-down;
	};

	wcd_default: wcd-reset-n-active-state {
		pins = "gpio108";
		function = "gpio";
		drive-strength = <16>;
		bias-disable;
	};

	fan_pwr_active: fan-pwr-active-state {
		pins = "gpio109";
		function = "gpio";
		drive-strength = <2>;
		bias-disable;
	};

	audio_mclk0_default_state: audio-mclk0-default-state {
		pins = "gpio125";
		function = "audio_ext_mclk0";
		drive-strength = <8>;
		bias-disable;
		output-high;
	};

	i2s0_default_state: i2s0-default-state {
		sck-pins {
			pins = "gpio126";
			function = "i2s0_sck";
			drive-strength = <8>;
			bias-disable;
			output-high;
		};

		data0-pins {
			pins = "gpio127";
			function = "i2s0_data0";
			drive-strength = <8>;
			bias-disable;
		};

		data1-pins {
			pins = "gpio128";
			function = "i2s0_data1";
			drive-strength = <8>;
			bias-disable;
		};

		ws-pins {
			pins = "gpio129";
			function = "i2s0_ws";
			drive-strength = <8>;
			bias-disable;
			output-high;
		};
	};

	dsi_p_rst_active: dsi-p-rst-active-state {
		pins = "gpio133";
		function = "gpio";
		drive-strength = <8>;
		bias-disable;
	};

	dsi_p_rst_suspend: dsi-p-rst-suspend-state {
		pins = "gpio133";
		function = "gpio";
		drive-strength = <2>;
		bias-pull-down;
	};

	dsi_s_rst_active: dsi-s-rst-active-state {
		pins = "gpio137";
		function = "gpio";
		drive-strength = <8>;
		bias-disable;
	};

	dsi_s_rst_suspend: dsi-s-rst-suspend-state {
		pins = "gpio137";
		function = "gpio";
		drive-strength = <2>;
		bias-pull-down;
	};

	usb0_sbu_default: usb0-sbu-state {
		oe-n-pins {
			pins = "gpio140";
			function = "gpio";
			bias-disable;
			drive-strength = <8>;
			output-high;
		};

		sel-pins {
			pins = "gpio141";
			function = "gpio";
			bias-disable;
			drive-strength = <8>;
		};
	};
};

&uart7 {
	status = "okay";
};

&uart14 {
	status = "okay";

	bluetooth {
		compatible = "qcom,wcn7850-bt";

		vddrfacmn-supply = <&vreg_pmu_rfa_cmn>;
		vddaon-supply = <&vreg_pmu_aon_0p59>;
		vddwlcx-supply = <&vreg_pmu_wlcx_0p8>;
		vddwlmx-supply = <&vreg_pmu_wlmx_0p85>;
		vddrfa0p8-supply = <&vreg_pmu_rfa_0p8>;
		vddrfa1p2-supply = <&vreg_pmu_rfa_1p2>;
		vddrfa1p8-supply = <&vreg_pmu_rfa_1p8>;

		max-speed = <3200000>;
	};
};

&ufs_mem_hc {
	reset-gpios = <&tlmm 210 GPIO_ACTIVE_LOW>;
	vcc-supply = <&vreg_l17b_2p5>;
	vcc-max-microamp = <1300000>;
	vccq-supply = <&vreg_l1g_1p2>;
	vccq-max-microamp = <1200000>;
	vdd-hba-supply = <&vreg_l3g_1p2>;

	status = "okay";
};

&ufs_mem_phy {
	vdda-phy-supply = <&vreg_l1d_0p88>;
	vdda-pll-supply = <&vreg_l3e_1p2>;

	status = "okay";
};

&usb_1 {
	status = "okay";
};

&usb_1_dwc3_hs {
	remote-endpoint = <&pmic_glink_hs_in>;
};

&usb_1_hsphy {
	phys = <&pm8550b_eusb2_repeater>;

	vdd-supply = <&vreg_l1e_0p88>;
	vdda12-supply = <&vreg_l3e_1p2>;

	status = "okay";
};

&usb_dp_qmpphy {
	vdda-phy-supply = <&vreg_l3e_1p2>;
	vdda-pll-supply = <&vreg_l3f_0p88>;

	status = "okay";
};

&usb_dp_qmpphy_out {
	remote-endpoint = <&pmic_glink_ss_in>;
};

&xo_board {
	clock-frequency = <76800000>;
};
